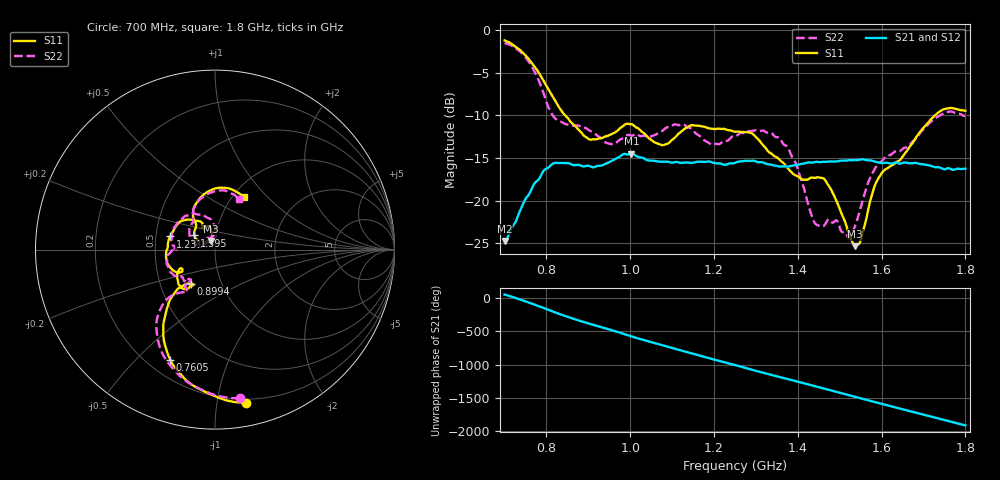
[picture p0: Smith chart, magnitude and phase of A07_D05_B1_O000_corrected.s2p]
! Created with skrf 1.9.0 (http://scikit-rf.org).
# Hz S RI R 50.0
!freq ReS11 ImS11 ReS21 ImS21 ReS12 ImS12 ReS22 ImS22
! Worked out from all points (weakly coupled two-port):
!   1601 points, 700 MHz to 1.8 GHz, reference 50 ohm
!   highest |S21| = -14.48 dB at 1.002 GHz (marker M1); lowest = -24.7 dB at 700.7 MHz (marker M2)
!   lowest |S11| = -25.3 dB at 1.537 GHz (marker M3), VSWR 1.11, Z = 47.4 + j4.6 ohm
!   |S11| at or under -10 dB: 844.9 MHz to 1.727 GHz (882.1 MHz wide, 68.6 % of centre)
!   |S22| runs from -24.5 to -1.5 dB; largest |S21 - S12| = 0.0036
!   S11 on the Smith chart (normalised r, x): 700 MHz: 0.17, -1.20; 760.5 MHz: 0.29, -0.63; 899.4 MHz: 0.72, -0.29; 1.231 GHz: 0.60, +0.09; 1.595 GHz: 0.79, +0.13; 1.8 GHz: 1.13, +0.75
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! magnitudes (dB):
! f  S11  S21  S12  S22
! 700 MHz  -1.2  -24.7  -24.5  -1.5
! 700.7 MHz  -1.2  -24.7  -24.4  -1.5
! 760.5 MHz  -3.6  -19.0  -18.9  -3.9
! 817.6 MHz  -8.0  -15.6  -15.7  -10.2
! 883.6 MHz  -12.0  -15.9  -15.8  -11.3
! 899.4 MHz  -12.7  -15.9  -15.9  -11.7
! 955.1 MHz  -12.2  -15.3  -15.3  -13.4
! 1.002 GHz  -11.0  -14.5  -14.6  -12.4
! 1.067 GHz  -13.3  -15.4  -15.4  -12.1
! 1.145 GHz  -11.2  -15.6  -15.6  -11.5
! 1.231 GHz  -11.7  -15.7  -15.7  -13.0
! 1.25 GHz  -11.9  -15.6  -15.5  -12.5
! 1.357 GHz  -15.2  -16.0  -15.9  -12.7
! 1.396 GHz  -17.0  -15.8  -15.8  -15.7
! 1.434 GHz  -17.3  -15.5  -15.5  -21.8
! 1.472 GHz  -18.1  -15.4  -15.4  -22.2
! 1.522 GHz  -24.0  -15.2  -15.3  -24.4
! 1.537 GHz  -25.3  -15.2  -15.2  -23.0
! 1.595 GHz  -17.1  -15.5  -15.5  -15.6
! 1.617 GHz  -16.1  -15.6  -15.6  -14.7
! 1.735 GHz  -9.7  -16.1  -16.1  -10.1
! 1.8 GHz  -9.5  -16.2  -16.2  -10.1
